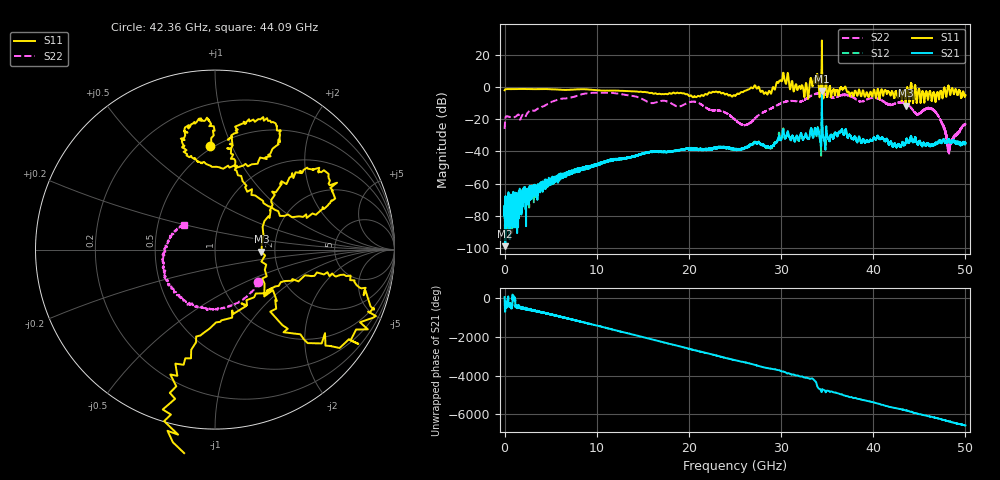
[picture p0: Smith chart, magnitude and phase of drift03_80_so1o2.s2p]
!Created with skrf (http://scikit-rf.org).
# Hz S RI R 50.0
!freq ReS11 ImS11 ReS21 ImS21 ReS12 ImS12 ReS22 ImS22
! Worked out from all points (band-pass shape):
!   10000 points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, 5.3 MHz to 50 GHz, reference 50 ohm
!   highest |S21| = -2.62 dB at 34.43 GHz (marker M1); lowest = -98.8 dB at 80.3 MHz (marker M2)
!   |S21| within 3 dB of the highest: 34.42757 GHz to 34.43485 GHz (7.273 MHz wide, 0.0211 % of centre)
!   lowest |S11| = -11.7 dB at 43.52 GHz (marker M3), VSWR 1.70, Z = 84.9 - j2.15 ohm
!   |S11| at or under -10 dB: 43.48529 GHz to 43.54346 GHz (58.17 MHz wide, 0.134 % of centre); 43.54755 GHz to 43.55159 GHz (4.045 MHz wide, 0.00929 % of centre); 44.31317 GHz to 44.31607 GHz (2.901 MHz wide, 0.00655 % of centre)
!   |S22| runs from -41.4 to -3.6 dB; largest |S21 - S12| = 0.25
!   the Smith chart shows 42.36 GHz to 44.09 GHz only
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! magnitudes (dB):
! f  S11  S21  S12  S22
! 5.3 MHz  -2.1  -79.8  -75.0  -26.1
! 80.3 MHz  -1.5  -98.8  -81.7  -19.4
! 2.075 GHz  -1.3  -65.6  -71.2  -17.6
! 8.34 GHz  -1.5  -51.2  -50.5  -4.7
! 16.67 GHz  -4.4  -40.2  -40.2  -9.2
! 20.75 GHz  -6.3  -38.5  -38.5  -9.3
! 25.01 GHz  -5.5  -38.9  -39.1  -20.4
! 26.23 GHz  -2.2  -37.6  -37.4  -23.6
! 27.38 GHz  -1.1  -35.1  -35.0  -18.4
! 28.72 GHz  -2.5  -37.6  -37.5  -14.0
! 30.14 GHz  4.5  -29.4  -29.6  -9.9
! 32.74 GHz  2.0  -29.5  -29.2  -7.3
! 33.34 GHz  2.7  -27.4  -27.8  -5.2
! 33.82 GHz  4.1  -29.1  -29.5  -4.3
! 34.43 GHz  28.8  -2.6  -4.8  -3.9
! 36.48 GHz  -0.5  -28.0  -28.0  -5.4
! 41.67 GHz  -2.8  -35.4  -35.4  -10.9
! 43.52 GHz  -11.7  -34.1  -34.5  -10.2
! 44.74 GHz  -9.3  -34.7  -34.6  -17.0
! 46.66 GHz  -5.0  -35.7  -35.7  -15.0
! 48.24 GHz  -1.1  -33.1  -33.0  -36.3
! 50 GHz  -5.3  -34.9  -34.8  -23.3
